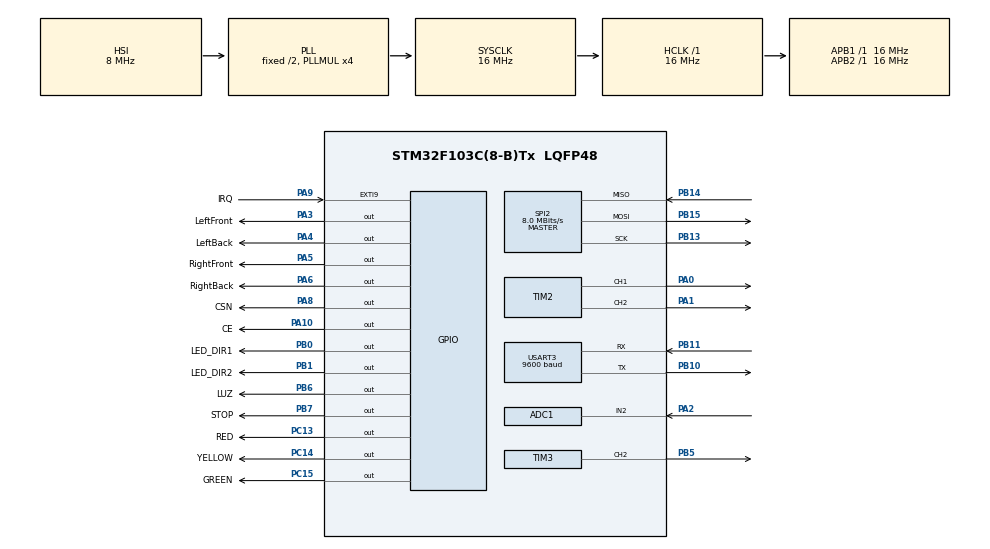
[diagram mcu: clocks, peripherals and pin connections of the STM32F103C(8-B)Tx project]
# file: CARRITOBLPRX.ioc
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ADC1.Channel-3\#ChannelRegularConversion=ADC_CHANNEL_2
ADC1.ContinuousConvMode=ENABLE
ADC1.Mode=__NULL
ADC1.NbrOfConversionFlag=1
ADC1.Rank-3\#ChannelRegularConversion=1
ADC1.SamplingTime-3\#ChannelRegularConversion=ADC_SAMPLETIME_1CYCLE_5
ADC1.master=1
Mcu.Family=STM32F1
Mcu.Name=STM32F103C(8-B)Tx
Mcu.Package=LQFP48
NVIC.PriorityGroup=NVIC_PRIORITYGROUP_4
NVIC.SPI2_IRQn=true\:0\:0\:false\:false\:true\:true\:true\:true
PA0-WKUP.Signal=S_TIM2_CH1_ETR
PA1.Signal=S_TIM2_CH2
PA10.GPIO_Label=CE
PA10.GPIO_Speed=GPIO_SPEED_FREQ_HIGH
PA10.Signal=GPIO_Output
PA13.Mode=Serial_Wire
PA13.Signal=SYS_JTMS-SWDIO
PA14.Mode=Serial_Wire
PA14.Signal=SYS_JTCK-SWCLK
PA2.Signal=ADCx_IN2
PA3.GPIO_Label=LeftFront
PA3.GPIO_Speed=GPIO_SPEED_FREQ_HIGH
PA3.Signal=GPIO_Output
PA4.GPIO_Label=LeftBack
PA4.GPIO_Speed=GPIO_SPEED_FREQ_HIGH
PA4.Signal=GPIO_Output
PA5.GPIO_Label=RightFront
PA5.GPIO_Speed=GPIO_SPEED_FREQ_HIGH
PA5.Signal=GPIO_Output
PA6.GPIO_Label=RightBack
PA6.GPIO_Speed=GPIO_SPEED_FREQ_HIGH
PA6.Signal=GPIO_Output
PA8.GPIO_Label=CSN
PA8.GPIO_Speed=GPIO_SPEED_FREQ_HIGH
PA8.Signal=GPIO_Output
PA9.GPIO_Label=IRQ
PA9.GPIO_ModeDefaultEXTI=GPIO_MODE_IT_FALLING
PA9.Signal=GPXTI9
PB0.GPIO_Label=LED_DIR1
PB0.Signal=GPIO_Output
PB1.GPIO_Label=LED_DIR2
PB1.Signal=GPIO_Output
PB10.Mode=Asynchronous
PB10.Signal=USART3_TX
PB11.Mode=Asynchronous
PB11.Signal=USART3_RX
PB13.Mode=Full_Duplex_Master
PB13.Signal=SPI2_SCK
PB14.Mode=Full_Duplex_Master
PB14.Signal=SPI2_MISO
PB15.Mode=Full_Duplex_Master
PB15.Signal=SPI2_MOSI
PB5.Signal=S_TIM3_CH2
PB6.GPIO_Label=LUZ
PB6.Signal=GPIO_Output
PB7.GPIO_Label=STOP
PB7.Signal=GPIO_Output
PC13-TAMPER-RTC.GPIO_Label=RED
PC13-TAMPER-RTC.Signal=GPIO_Output
PC14-OSC32_IN.GPIO_Label=YELLOW
PC14-OSC32_IN.Signal=GPIO_Output
PC15-OSC32_OUT.GPIO_Label=GREEN
PC15-OSC32_OUT.Signal=GPIO_Output
PD0-OSC_IN.Mode=HSE-External-Oscillator
PD0-OSC_IN.Signal=RCC_OSC_IN
PD1-OSC_OUT.Mode=HSE-External-Oscillator
PD1-OSC_OUT.Signal=RCC_OSC_OUT
ProjectManager.HeapSize=0x200
ProjectManager.StackSize=0x400
ProjectManager.TargetToolchain=STM32CubeIDE
RCC.AHBFreq_Value=16000000
RCC.APB1Freq_Value=16000000
RCC.APB1TimFreq_Value=16000000
RCC.APB2Freq_Value=16000000
RCC.APB2TimFreq_Value=16000000
RCC.HCLKFreq_Value=16000000
RCC.PLLSourceVirtual=RCC_PLLSOURCE_HSE
RCC.SYSCLKFreq_VALUE=16000000
RCC.SYSCLKSource=RCC_SYSCLKSOURCE_PLLCLK
RCC.USBFreq_Value=16000000
SH.ADCx_IN2.0=ADC1_IN2,IN2
SH.S_TIM2_CH1_ETR.0=TIM2_CH1,PWM Generation1 CH1
SH.S_TIM2_CH2.0=TIM2_CH2,PWM Generation2 CH2
SH.S_TIM3_CH2.0=TIM3_CH2,PWM Generation2 CH2
SPI2.CalculateBaudRate=8.0 MBits/s
SPI2.Direction=SPI_DIRECTION_2LINES
SPI2.Mode=SPI_MODE_MASTER
SPI2.VirtualType=VM_MASTER
TIM2.Channel-PWM\ Generation1\ CH1=TIM_CHANNEL_1
TIM2.Channel-PWM\ Generation2\ CH2=TIM_CHANNEL_2
TIM2.OCMode_PWM-PWM\ Generation1\ CH1=TIM_OCMODE_PWM1
TIM3.AutoReloadPreload=TIM_AUTORELOAD_PRELOAD_ENABLE
TIM3.Channel-PWM\ Generation2\ CH2=TIM_CHANNEL_2
TIM3.Period=3199
TIM3.Prescaler=99
USART3.BaudRate=9600
USART3.VirtualMode=VM_ASYNC
board=custom

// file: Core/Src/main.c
/* USER CODE BEGIN Header */
/*
------- Kevin Lara  -------
--------- Auf Das --------
-------- Roberto --------
----------- Car  -----------
-------- 27/12/2025 --------
*/
/*
B13  SPI2_SCK
B14  SPI2_MISO
B15  SPI2_MOSI
A8  CSN
A9  CE
A10 IRQ

B7  SW Back
B6  SW Fw

A2 ADC

B10 TX UART
B11 RX UART

PC13 BATRED
PC14 BATYELL
PC15 BATGREEN

*/
// ------- Main Library -------
/* USER CODE END Header */
#include "main.h"

/* USER CODE BEGIN Includes */
#include "NRF24.h"
#include "NRF24_reg_addresses.h"
#include "conf.h"
#include <stdio.h>

/* USER CODE END Includes */

/* USER CODE BEGIN PD */
typedef struct {
  uint8_t cmd;
  uint8_t speed;

  float angle;
} RF_Data;

#define PLD_SIZE sizeof(RF_Data)
/* USER CODE END PD */

ADC_HandleTypeDef hadc1;

SPI_HandleTypeDef hspi2;

TIM_HandleTypeDef htim2;
TIM_HandleTypeDef htim3;

UART_HandleTypeDef huart3;

/* USER CODE BEGIN PV */

RF_Data rxData;
uint8_t dataRx[sizeof(RF_Data)];
uint8_t addrRx[5]="juan1";
uint16_t adc_val;
uint16_t batery_val;
/* USER CODE END PV */

void SystemClock_Config(void);
static void MX_GPIO_Init(void);
static void MX_SPI2_Init(void);
static void MX_TIM2_Init(void);
static void MX_TIM3_Init(void);
static void MX_ADC1_Init(void);
static void MX_USART3_UART_Init(void);

int main(void)
{

  /* MCU Configuration--------------------------------------------------------*/

  /* Reset of all peripherals, Initializes the Flash interface and the Systick. */
  HAL_Init();

  /* Configure the system clock */
  SystemClock_Config();

  /* Initialize all configured peripherals */
  MX_GPIO_Init();
  MX_SPI2_Init();
  MX_TIM2_Init();
  MX_TIM3_Init();
  MX_ADC1_Init();
  MX_USART3_UART_Init();
  /* USER CODE BEGIN 2 */
  HAL_TIM_PWM_Start(&htim2, TIM_CHANNEL_1); // Start PWM for motor channel 1
  HAL_TIM_PWM_Start(&htim2, TIM_CHANNEL_2); // Start PWM for motor channel 2
  HAL_TIM_PWM_Start(&htim3, TIM_CHANNEL_2); // Start PWM for servo
  csn_high();
  nrf24_init();
  nrf24_tx_pwr(_0dbm );
  nrf24_data_rate(_2mbps);
  nrf24_set_crc(en_crc,_1byte);
  nrf24_set_channel(100);
  nrf24_pipe_pld_size(0,PLD_SIZE);
  //nrf24_open_tx_pipe(addrRx);
  nrf24_open_rx_pipe(0,addrRx);
  nrf24_listen();
  HAL_ADC_Start(&hadc1);

  /* USER CODE END 2 */

  /* Infinite loop */
  while (1)
  {
	  	  	  	  	 char uart_buf[100];
	                int len = snprintf(uart_buf, sizeof(uart_buf), "bat=%d cmd=%d speed=%d angle=%.2f\r\n", batery_val, rxData.cmd, rxData.speed, rxData.angle);
	                HAL_UART_Transmit(&huart3, (uint8_t*)uart_buf, len, HAL_MAX_DELAY);
	                HAL_Delay(100);
	                adc_val = HAL_ADC_GetValue(&hadc1);
	                             batery_val = (adc_val*100)>>12;
	                             if(batery_val<=33){
	                             HAL_GPIO_WritePin(GPIOC,RED_Pin,GPIO_PIN_SET);
	                             HAL_GPIO_WritePin(GPIOC,GREEN_Pin,GPIO_PIN_RESET);}
	                             else if(batery_val>33 && batery_val<=66){
	                             HAL_GPIO_WritePin(GPIOC,YELLOW_Pin,GPIO_PIN_SET);
	                             HAL_GPIO_WritePin(GPIOC,RED_Pin,GPIO_PIN_RESET);}
	                             else {
	                             HAL_GPIO_WritePin(GPIOC,GREEN_Pin,GPIO_PIN_SET);
	                             HAL_GPIO_WritePin(GPIOC,YELLOW_Pin,GPIO_PIN_RESET);}
    /* USER CODE BEGIN 3 */
    nrf24_listen();
    if(nrf24_data_available()){
        nrf24_receive(dataRx, sizeof(dataRx));
        // Copy received bytes into struct
        memcpy(&rxData, dataRx, sizeof(RF_Data));
        if(rxData.cmd == 0x01)
            CAR_Stop();
            else {
              // --- Direction Motor ---
              if(rxData.cmd == 0x04)      CAR_Back();
              else if(rxData.cmd == 0x02)
            	  CAR_Front();
              uint16_t cast =(uint16_t)rxData.angle;
              __HAL_TIM_SET_COMPARE(&htim3,TIM_CHANNEL_2,cast );
              // --- Speed Motor ---
              CAR_Speed(rxData.speed);
              // -- LED  ---
              if(rxData.cmd == 0x10) GPIOD->ODR ^= (1<<0); // Toggle Light
              }
              /*ADC_BAT*/

              /*UART*/
          /*
          bat = {battery_val}
          cmd = {rxData.cmd}
          speed = {rxData.speed}
          angle = {rxData.angle}
          */
    }

    }

  /* USER CODE END 3 */
}

void SystemClock_Config(void)
{
  RCC_OscInitTypeDef RCC_OscInitStruct = {0};
  RCC_ClkInitTypeDef RCC_ClkInitStruct = {0};
  RCC_PeriphCLKInitTypeDef PeriphClkInit = {0};

  /** Initializes the RCC Oscillators according to the specified parameters
  * in the RCC_OscInitTypeDef structure.
  */
  RCC_OscInitStruct.OscillatorType = RCC_OSCILLATORTYPE_HSI;
  RCC_OscInitStruct.HSIState = RCC_HSI_ON;
  RCC_OscInitStruct.HSICalibrationValue = RCC_HSICALIBRATION_DEFAULT;
  RCC_OscInitStruct.PLL.PLLState = RCC_PLL_ON;
  RCC_OscInitStruct.PLL.PLLSource = RCC_PLLSOURCE_HSI_DIV2;
  RCC_OscInitStruct.PLL.PLLMUL = RCC_PLL_MUL4;
  if (HAL_RCC_OscConfig(&RCC_OscInitStruct) != HAL_OK)
  {
    Error_Handler();
  }

  /** Initializes the CPU, AHB and APB buses clocks
  */
  RCC_ClkInitStruct.ClockType = RCC_CLOCKTYPE_HCLK|RCC_CLOCKTYPE_SYSCLK
                              |RCC_CLOCKTYPE_PCLK1|RCC_CLOCKTYPE_PCLK2;
  RCC_ClkInitStruct.SYSCLKSource = RCC_SYSCLKSOURCE_PLLCLK;
  RCC_ClkInitStruct.AHBCLKDivider = RCC_SYSCLK_DIV1;
  RCC_ClkInitStruct.APB1CLKDivider = RCC_HCLK_DIV1;
  RCC_ClkInitStruct.APB2CLKDivider = RCC_HCLK_DIV1;

  if (HAL_RCC_ClockConfig(&RCC_ClkInitStruct, FLASH_LATENCY_0) != HAL_OK)
  {
    Error_Handler();
  }
  PeriphClkInit.PeriphClockSelection = RCC_PERIPHCLK_ADC;
  PeriphClkInit.AdcClockSelection = RCC_ADCPCLK2_DIV2;
  if (HAL_RCCEx_PeriphCLKConfig(&PeriphClkInit) != HAL_OK)
  {
    Error_Handler();
  }
}

static void MX_ADC1_Init(void)
{

  ADC_ChannelConfTypeDef sConfig = {0};

  /** Common config
  */
  hadc1.Instance = ADC1;
  hadc1.Init.ScanConvMode = ADC_SCAN_DISABLE;
  hadc1.Init.ContinuousConvMode = ENABLE;
  hadc1.Init.DiscontinuousConvMode = DISABLE;
  hadc1.Init.ExternalTrigConv = ADC_SOFTWARE_START;
  hadc1.Init.DataAlign = ADC_DATAALIGN_RIGHT;
  hadc1.Init.NbrOfConversion = 1;
  if (HAL_ADC_Init(&hadc1) != HAL_OK)
  {
    Error_Handler();
  }

  /** Configure Regular Channel
  */
  sConfig.Channel = ADC_CHANNEL_2;
  sConfig.Rank = ADC_REGULAR_RANK_1;
  sConfig.SamplingTime = ADC_SAMPLETIME_1CYCLE_5;
  if (HAL_ADC_ConfigChannel(&hadc1, &sConfig) != HAL_OK)
  {
    Error_Handler();
  }

}

static void MX_SPI2_Init(void)
{

  /* SPI2 parameter configuration*/
  hspi2.Instance = SPI2;
  hspi2.Init.Mode = SPI_MODE_MASTER;
  hspi2.Init.Direction = SPI_DIRECTION_2LINES;
  hspi2.Init.DataSize = SPI_DATASIZE_8BIT;
  hspi2.Init.CLKPolarity = SPI_POLARITY_LOW;
  hspi2.Init.CLKPhase = SPI_PHASE_1EDGE;
  hspi2.Init.NSS = SPI_NSS_SOFT;
  hspi2.Init.BaudRatePrescaler = SPI_BAUDRATEPRESCALER_2;
  hspi2.Init.FirstBit = SPI_FIRSTBIT_MSB;
  hspi2.Init.TIMode = SPI_TIMODE_DISABLE;
  hspi2.Init.CRCCalculation = SPI_CRCCALCULATION_DISABLE;
  hspi2.Init.CRCPolynomial = 10;
  if (HAL_SPI_Init(&hspi2) != HAL_OK)
  {
    Error_Handler();
  }

}

static void MX_TIM2_Init(void)
{

  TIM_MasterConfigTypeDef sMasterConfig = {0};
  TIM_OC_InitTypeDef sConfigOC = {0};

  htim2.Instance = TIM2;
  htim2.Init.Prescaler = 0;
  htim2.Init.CounterMode = TIM_COUNTERMODE_UP;
  htim2.Init.Period = 65535;
  htim2.Init.ClockDivision = TIM_CLOCKDIVISION_DIV1;
  htim2.Init.AutoReloadPreload = TIM_AUTORELOAD_PRELOAD_DISABLE;
  if (HAL_TIM_PWM_Init(&htim2) != HAL_OK)
  {
    Error_Handler();
  }
  sMasterConfig.MasterOutputTrigger = TIM_TRGO_RESET;
  sMasterConfig.MasterSlaveMode = TIM_MASTERSLAVEMODE_DISABLE;
  if (HAL_TIMEx_MasterConfigSynchronization(&htim2, &sMasterConfig) != HAL_OK)
  {
    Error_Handler();
  }
  sConfigOC.OCMode = TIM_OCMODE_PWM1;
  sConfigOC.Pulse = 0;
  sConfigOC.OCPolarity = TIM_OCPOLARITY_HIGH;
  sConfigOC.OCFastMode = TIM_OCFAST_DISABLE;
  if (HAL_TIM_PWM_ConfigChannel(&htim2, &sConfigOC, TIM_CHANNEL_1) != HAL_OK)
  {
    Error_Handler();
  }
  if (HAL_TIM_PWM_ConfigChannel(&htim2, &sConfigOC, TIM_CHANNEL_2) != HAL_OK)
  {
    Error_Handler();
  }
  HAL_TIM_MspPostInit(&htim2);

}

static void MX_TIM3_Init(void)
{

  TIM_MasterConfigTypeDef sMasterConfig = {0};
  TIM_OC_InitTypeDef sConfigOC = {0};

  htim3.Instance = TIM3;
  htim3.Init.Prescaler = 99;
  htim3.Init.CounterMode = TIM_COUNTERMODE_UP;
  htim3.Init.Period = 3199;
  htim3.Init.ClockDivision = TIM_CLOCKDIVISION_DIV1;
  htim3.Init.AutoReloadPreload = TIM_AUTORELOAD_PRELOAD_ENABLE;
  if (HAL_TIM_PWM_Init(&htim3) != HAL_OK)
  {
    Error_Handler();
  }
  sMasterConfig.MasterOutputTrigger = TIM_TRGO_RESET;
  sMasterConfig.MasterSlaveMode = TIM_MASTERSLAVEMODE_DISABLE;
  if (HAL_TIMEx_MasterConfigSynchronization(&htim3, &sMasterConfig) != HAL_OK)
  {
    Error_Handler();
  }
  sConfigOC.OCMode = TIM_OCMODE_PWM1;
  sConfigOC.Pulse = 0;
  sConfigOC.OCPolarity = TIM_OCPOLARITY_HIGH;
  sConfigOC.OCFastMode = TIM_OCFAST_DISABLE;
  if (HAL_TIM_PWM_ConfigChannel(&htim3, &sConfigOC, TIM_CHANNEL_2) != HAL_OK)
  {
    Error_Handler();
  }
  HAL_TIM_MspPostInit(&htim3);

}

static void MX_USART3_UART_Init(void)
{

  huart3.Instance = USART3;
  huart3.Init.BaudRate = 9600;
  huart3.Init.WordLength = UART_WORDLENGTH_8B;
  huart3.Init.StopBits = UART_STOPBITS_1;
  huart3.Init.Parity = UART_PARITY_NONE;
  huart3.Init.Mode = UART_MODE_TX_RX;
  huart3.Init.HwFlowCtl = UART_HWCONTROL_NONE;
  huart3.Init.OverSampling = UART_OVERSAMPLING_16;
  if (HAL_UART_Init(&huart3) != HAL_OK)
  {
    Error_Handler();
  }

}

static void MX_GPIO_Init(void)
{
  GPIO_InitTypeDef GPIO_InitStruct = {0};

  /* GPIO Ports Clock Enable */
  __HAL_RCC_GPIOC_CLK_ENABLE();
  __HAL_RCC_GPIOD_CLK_ENABLE();
  __HAL_RCC_GPIOA_CLK_ENABLE();
  __HAL_RCC_GPIOB_CLK_ENABLE();

  /*Configure GPIO pin Output Level */
  HAL_GPIO_WritePin(GPIOC, RED_Pin|YELLOW_Pin|GREEN_Pin, GPIO_PIN_RESET);

  /*Configure GPIO pin Output Level */
  HAL_GPIO_WritePin(GPIOD, LUZ_Pin|STOP_Pin, GPIO_PIN_RESET);

  /*Configure GPIO pin Output Level */
  HAL_GPIO_WritePin(GPIOA, LeftFront_Pin|LeftBack_Pin|RightFront_Pin|RightBack_Pin
                          |CSN_Pin|CE_Pin, GPIO_PIN_RESET);

  /*Configure GPIO pin Output Level */
  HAL_GPIO_WritePin(GPIOB, LED_DIR1_Pin|LED_DIR2_Pin, GPIO_PIN_RESET);

  /*Configure GPIO pins : RED_Pin YELLOW_Pin GREEN_Pin */
  GPIO_InitStruct.Pin = RED_Pin|YELLOW_Pin|GREEN_Pin;
  GPIO_InitStruct.Mode = GPIO_MODE_OUTPUT_PP;
  GPIO_InitStruct.Pull = GPIO_NOPULL;
  GPIO_InitStruct.Speed = GPIO_SPEED_FREQ_LOW;
  HAL_GPIO_Init(GPIOC, &GPIO_InitStruct);

  /*Configure GPIO pins : LUZ_Pin STOP_Pin */
  GPIO_InitStruct.Pin = LUZ_Pin|STOP_Pin;
  GPIO_InitStruct.Mode = GPIO_MODE_OUTPUT_PP;
  GPIO_InitStruct.Pull = GPIO_NOPULL;
  GPIO_InitStruct.Speed = GPIO_SPEED_FREQ_LOW;
  HAL_GPIO_Init(GPIOD, &GPIO_InitStruct);

  /*Configure GPIO pins : LeftFront_Pin LeftBack_Pin RightFront_Pin RightBack_Pin
                           CSN_Pin CE_Pin */
  GPIO_InitStruct.Pin = LeftFront_Pin|LeftBack_Pin|RightFront_Pin|RightBack_Pin
                          |CSN_Pin|CE_Pin;
  GPIO_InitStruct.Mode = GPIO_MODE_OUTPUT_PP;
  GPIO_InitStruct.Pull = GPIO_NOPULL;
  GPIO_InitStruct.Speed = GPIO_SPEED_FREQ_HIGH;
  HAL_GPIO_Init(GPIOA, &GPIO_InitStruct);

  /*Configure GPIO pins : LED_DIR1_Pin LED_DIR2_Pin */
  GPIO_InitStruct.Pin = LED_DIR1_Pin|LED_DIR2_Pin;
  GPIO_InitStruct.Mode = GPIO_MODE_OUTPUT_PP;
  GPIO_InitStruct.Pull = GPIO_NOPULL;
  GPIO_InitStruct.Speed = GPIO_SPEED_FREQ_LOW;
  HAL_GPIO_Init(GPIOB, &GPIO_InitStruct);

  /*Configure GPIO pin : IRQ_Pin */
  GPIO_InitStruct.Pin = IRQ_Pin;
  GPIO_InitStruct.Mode = GPIO_MODE_IT_FALLING;
  GPIO_InitStruct.Pull = GPIO_NOPULL;
  HAL_GPIO_Init(IRQ_GPIO_Port, &GPIO_InitStruct);

  /*Configure peripheral I/O remapping */
  __HAL_AFIO_REMAP_PD01_ENABLE();

}

void Error_Handler(void)
{
  __disable_irq();
  while (1)
  {
  }
}
